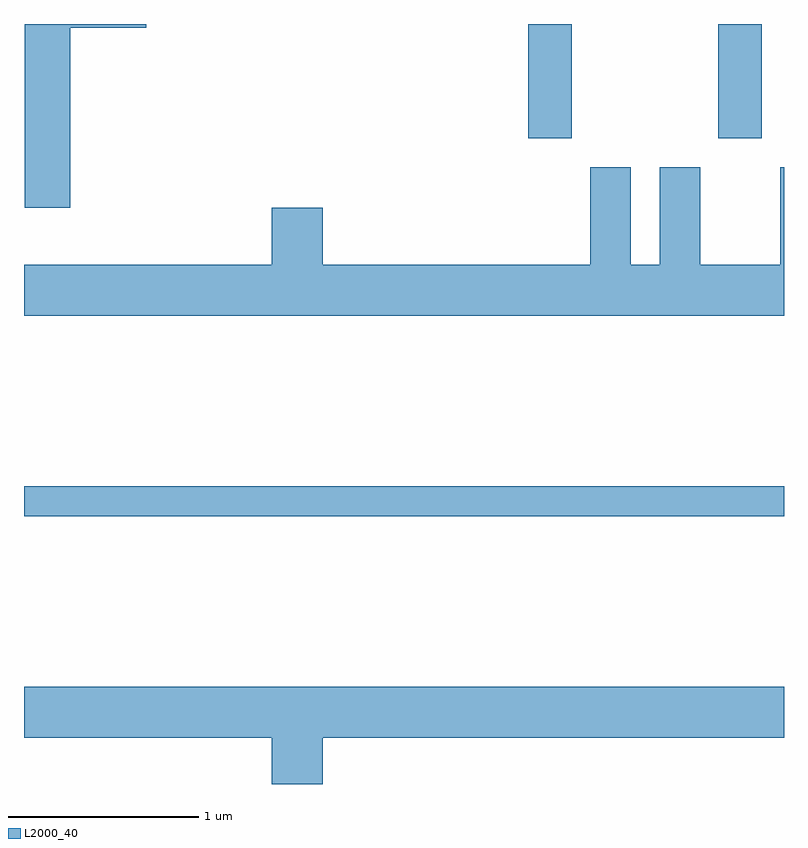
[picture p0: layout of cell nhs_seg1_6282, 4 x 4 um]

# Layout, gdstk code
import gdstk
lib = gdstk.Library(unit=1e-6, precision=1e-09)
def R(c, l, rs):  # rectangles x0, y0, x1, y1
    for r in rs: c.add(gdstk.rectangle(r[:2], r[2:], *l))
def P(c, l, *ps):  # polygons
    for p in ps: c.add(gdstk.Polygon(p, *l))
L2000_40 = (2000, 40)

nhs_seg1_6282 = lib.new_cell('nhs_seg1_6282')
R(nhs_seg1_6282, L2000_40, [(373.611,965.121,377.611,965.279), (376.266,967.111,376.494,967.712), (377.266,967.111,377.494,967.712)])
P(nhs_seg1_6282, L2000_40, [(373.854,967.691),(374.254,967.691),(374.254,967.712),(373.616,967.712),(373.616,966.746),(373.854,966.746)],
  [(377.611,966.959),(377.591,966.959),(377.591,966.444),(377.169,966.444),(377.169,966.959),(376.956,966.959),(376.956,966.444),(376.804,966.444),(376.804,966.959),(376.591,966.959),(376.591,966.444),(375.184,966.444),(375.184,966.744),(374.916,966.744),(374.916,966.444),(373.611,966.444),(373.611,966.176),(377.611,966.176)],
  [(375.184,963.956),(377.611,963.956),(377.611,964.224),(373.611,964.224),(373.611,963.956),(374.916,963.956),(374.916,963.712),(375.184,963.712)])

lib.write_gds('nhs_seg1_6282.gds')
